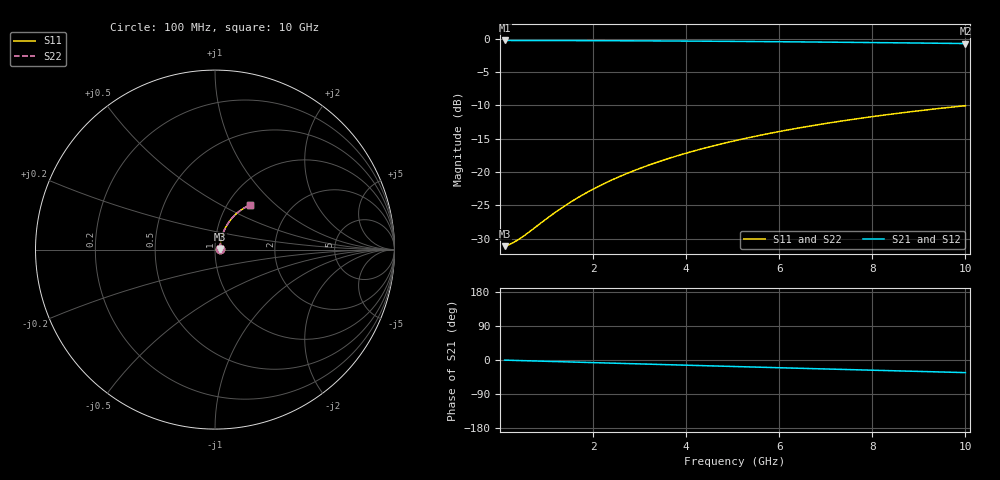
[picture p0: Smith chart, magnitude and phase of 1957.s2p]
# Hz S RI R 50.00
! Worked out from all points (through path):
!   100 points, 100 MHz to 10 GHz, reference 50 ohm
!   highest |S21| = -0.24 dB at 100 MHz (marker M1); lowest = -0.7 dB at 10 GHz (marker M2)
!   group delay of S21, straight-line fit = 9.26 ps
!   lowest |S11| = -31.1 dB at 100 MHz (marker M3), VSWR 1.06, Z = 52.8 + j0.347 ohm
!   |S11| at or under -10 dB: start of sweep to end of sweep
!   |S22| runs from -31.1 to -10.0 dB; largest |S21 - S12| = 0
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1e8  0.0275 0.00328  0.9724 -0.00585  0.9724 -0.00585  0.0275 0.00328
2e8  0.0278 0.00656  0.9722 -0.0117  0.9722 -0.0117  0.0278 0.00656
3e8  0.028 0.00983  0.9719 -0.0175  0.9719 -0.0175  0.028 0.00983
4e8  0.0283 0.0131  0.9717 -0.0234  0.9717 -0.0234  0.0283 0.0131
6e8  0.0288 0.0196  0.971 -0.035  0.971 -0.035  0.0288 0.0196
1e9  0.0303 0.0326  0.9693 -0.0583  0.9693 -0.0583  0.0303 0.0326
1.3e9  0.0318 0.0423  0.9676 -0.0757  0.9676 -0.0757  0.0318 0.0423
1.5e9  0.033 0.0487  0.9662 -0.0873  0.9662 -0.0873  0.033 0.0487
1.8e9  0.0351 0.0583  0.9638 -0.1046  0.9638 -0.1046  0.0351 0.0583
2.1e9  0.0374 0.0678  0.961 -0.1218  0.961 -0.1218  0.0374 0.0678
2.5e9  0.0411 0.0803  0.9567 -0.1445  0.9567 -0.1445  0.0411 0.0803
2.9e9  0.0454 0.0925  0.9517 -0.167  0.9517 -0.167  0.0454 0.0925
3.4e9  0.0515 0.1075  0.9445 -0.1949  0.9445 -0.1949  0.0515 0.1075
3.8e9  0.057 0.1191  0.9381 -0.2168  0.9381 -0.2168  0.057 0.1191
4.2e9  0.063 0.1304  0.931 -0.2385  0.931 -0.2385  0.063 0.1304
4.6e9  0.0696 0.1414  0.9232 -0.2598  0.9232 -0.2598  0.0696 0.1414
5.1e9  0.0784 0.1547  0.9127 -0.2859  0.9127 -0.2859  0.0784 0.1547
5.9e9  0.094 0.1746  0.8942 -0.3265  0.8942 -0.3265  0.094 0.1746
6.7e9  0.1112 0.1927  0.8735 -0.3653  0.8735 -0.3653  0.1112 0.1927
7.5e9  0.1298 0.2091  0.851 -0.4024  0.851 -0.4024  0.1298 0.2091
8.4e9  0.1521 0.2252  0.8237 -0.4418  0.8237 -0.4418  0.1521 0.2252
1e10  0.1945 0.2475  0.7709 -0.5057  0.7709 -0.5057  0.1945 0.2475
